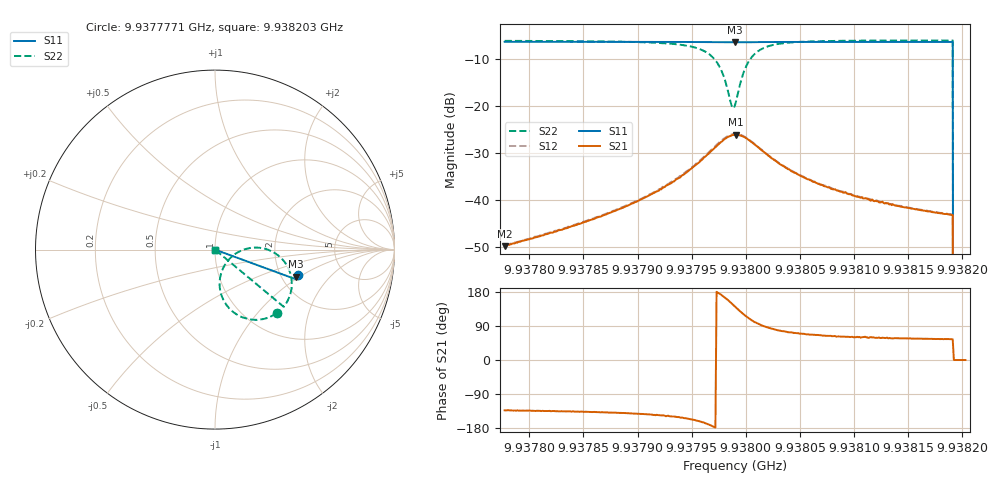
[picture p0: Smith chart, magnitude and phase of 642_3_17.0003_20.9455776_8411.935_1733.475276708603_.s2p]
#  HZ  S  RI  R  50.00
! Rohde & Schwarz Vector Network Analyzer
! Rohde-Schwarz,ZNB20-2Port,1311601062101988,3.16
! Created: UTC 3/20/2024, 11:20:53 PM
! freq[Hz]  re:S11  im:S11  re:S21  im:S21  re:S12  im:S12  re:S22  im:S22
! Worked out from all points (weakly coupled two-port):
!   401 points, 9.9377771 GHz to 9.938203 GHz, reference 50 ohm
!   highest |S21| = -26.13 dB at 9.9379911 GHz (marker M1); lowest = -49.8 dB at 9.9377771 GHz (marker M2)
!   lowest |S11| = -6.5 dB at 9.9379901 GHz (marker M3), VSWR 2.81, Z = 119 - j46.3 ohm
!   |S11| at or under -10 dB: 9.9381913 GHz to end of sweep
!   |S22| runs from - to -6.1 dB; largest |S21 - S12| = 0.0022
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9.93777709e9  0.4608 -0.1397  -0.00218 -0.00236  -0.00226 -0.00238  0.3429 -0.3544
9.93784844e9  0.4587 -0.1447  -0.00409 -0.00393  -0.00423 -0.00392  0.3219 -0.3674
9.9378889e9  0.4577 -0.1475  -0.00653 -0.00546  -0.00674 -0.00548  0.2982 -0.3783
9.93791979e9  0.4563 -0.1498  -0.0103 -0.00713  -0.0109 -0.00716  0.2627 -0.3883
9.9379496e9  0.4546 -0.1521  -0.0197 -0.00848  -0.0204 -0.00839  0.1844 -0.3867
9.93796664e9  0.4527 -0.1531  -0.0316 -0.00481  -0.0326 -0.00437  0.0928 -0.3403
9.93797197e9  0.4519 -0.153  -0.0365 -0.000905  -0.0375 3.12e-05  0.0585 -0.3001
9.93797729e9  0.4509 -0.1527  -0.041 0.00564  -0.0422 0.00698  0.0313 -0.2392
9.93798687e9  0.4502 -0.1511  -0.0418 0.0247  -0.0421 0.0266  0.0552 -0.0849
9.93799007e9  0.4503 -0.1505  -0.0385 0.031  -0.0384 0.0331  0.0942 -0.0387
9.93799113e9  0.4504 -0.1502  -0.0369 0.0328  -0.0365 0.0349  0.1098 -0.0261
9.93799646e9  0.4514 -0.1496  -0.0272 0.0394  -0.0259 0.0411  0.1999 0.00948
9.93799965e9  0.452 -0.1495  -0.0207 0.041  -0.0196 0.0423  0.2527 0.00964
9.93800498e9  0.453 -0.1496  -0.0114 0.04  -0.0101 0.0408  0.3244 -0.014
9.9380103e9  0.4536 -0.1502  -0.00474 0.037  -0.00344 0.0373  0.3717 -0.0501
9.93802734e9  0.4546 -0.1524  0.00445 0.0258  0.00506 0.0259  0.4248 -0.1531
9.93806141e9  0.4543 -0.156  0.0062 0.0145  0.00659 0.0145  0.4206 -0.2457
9.93810082e9  0.4532 -0.1589  0.00541 0.00958  0.00573 0.00973  0.4045 -0.2852
9.93813276e9  0.4521 -0.1613  0.00475 0.00756  0.00497 0.0076  0.3952 -0.3013
9.9381892e9  0.4506 -0.165  0.004 0.00567  0.00415 0.00573  0.3834 -0.3178
9.93819452e9  0 0  0 0  0 0  0 0
9.93820304e9  0 0  0 0  0 0  0 0
